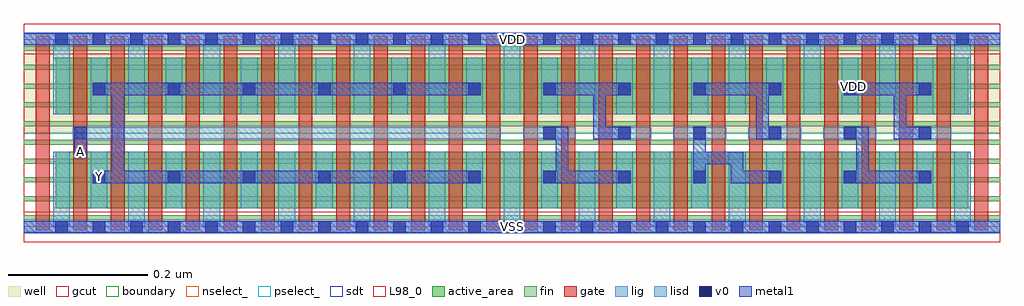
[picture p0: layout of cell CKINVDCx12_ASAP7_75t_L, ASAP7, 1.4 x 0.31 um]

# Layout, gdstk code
import gdstk
lib = gdstk.Library(unit=1e-6, precision=2.5e-10)
def R(c, l, rs):  # rectangles x0, y0, x1, y1
    for r in rs: c.add(gdstk.rectangle(r[:2], r[2:], *l))
def A(c, l, x, y, w, h, nx, ny, dx, dy):  # array of equal rectangles
    R(c, l, [(x+i*dx, y+j*dy, x+i*dx+w, y+j*dy+h) for i in range(nx) for j in range(ny)])
def P(c, l, *ps):  # polygons
    for p in ps: c.add(gdstk.Polygon(p, *l))
well = (1, 0)
fin = (2, 0)
gate = (7, 0)
gcut = (10, 0)
active_area = (11, 0)
nselect_ = (12, 0)
pselect_ = (13, 0)
lig = (16, 0)
lisd = (17, 0)
v0 = (18, 0)
metal1 = (19, 0)
sdt = (88, 0)
L98_0 = (98, 0)
boundary = (100, 0)

ckinvdcx12_asap7_75t_l = lib.new_cell('CKINVDCx12_ASAP7_75t_L')
R(ckinvdcx12_asap7_75t_l, well, [(0,0.135,1.404,0.27)])
A(ckinvdcx12_asap7_75t_l, fin, 0, 0.01, 1.404, 0.007, 1, 10, 0, 0.027)
A(ckinvdcx12_asap7_75t_l, gate, 0.017, -0.005, 0.02, 0.28, 26, 1, 0.054, 0)
R(ckinvdcx12_asap7_75t_l, gcut, [(0,-0.022,1.404,0.022), (0,0.248,1.404,0.292)])
R(ckinvdcx12_asap7_75t_l, active_area, [(0.046,0.027,1.358,0.108), (0.046,0.162,1.358,0.243)])
R(ckinvdcx12_asap7_75t_l, nselect_, [(0,0,1.404,0.135)])
R(ckinvdcx12_asap7_75t_l, pselect_, [(0,0.135,1.404,0.27)])
A(ckinvdcx12_asap7_75t_l, lig, 0.718, 0.127, 0.076, 0.016, 6, 1, 0.108, 0)
R(ckinvdcx12_asap7_75t_l, lig, [(0,-0.008,1.404,0.008), (0.07,0.127,0.686,0.143), (0,0.262,1.404,0.278)])
A(ckinvdcx12_asap7_75t_l, lisd, 0.042, 0, 0.024, 0.108, 13, 2, 0.108, 0.162)
A(ckinvdcx12_asap7_75t_l, lisd, 0.096, 0.027, 0.024, 0.081, 12, 2, 0.108, 0.135)
A(ckinvdcx12_asap7_75t_l, v0, 0.045, -0.009, 0.018, 0.018, 25, 2, 0.054, 0.27)
A(ckinvdcx12_asap7_75t_l, v0, 0.099, 0.063, 0.018, 0.018, 12, 2, 0.108, 0.126)
A(ckinvdcx12_asap7_75t_l, v0, 0.747, 0.126, 0.018, 0.018, 6, 1, 0.108, 0)
R(ckinvdcx12_asap7_75t_l, v0, [(0.072,0.126,0.09,0.144)])
R(ckinvdcx12_asap7_75t_l, metal1, [(0,-0.009,1.404,0.009), (0.072,0.099,0.09,0.144), (0,0.261,1.404,0.279)])
P(ckinvdcx12_asap7_75t_l, metal1, [(1.305,0.081),(1.215,0.081),(1.215,0.144),(1.179,0.144),(1.179,0.126),(1.197,0.126),(1.197,0.081),(1.179,0.081),(1.179,0.063),(1.305,0.063)],
  [(0.981,0.09),(1.017,0.09),(1.017,0.063),(1.089,0.063),(1.089,0.081),(1.035,0.081),(1.035,0.108),(0.981,0.108),(0.981,0.144),(0.963,0.144),(0.963,0.063),(0.981,0.063)],
  [(0.873,0.081),(0.783,0.081),(0.783,0.144),(0.747,0.144),(0.747,0.126),(0.765,0.126),(0.765,0.081),(0.747,0.081),(0.747,0.063),(0.873,0.063)],
  [(1.305,0.207),(1.179,0.207),(1.179,0.189),(1.251,0.189),(1.251,0.126),(1.305,0.126),(1.305,0.144),(1.269,0.144),(1.269,0.189),(1.305,0.189)],
  [(1.089,0.144),(1.071,0.144),(1.071,0.189),(1.089,0.189),(1.089,0.207),(0.963,0.207),(0.963,0.189),(1.053,0.189),(1.053,0.126),(1.089,0.126)],
  [(0.873,0.144),(0.837,0.144),(0.837,0.189),(0.873,0.189),(0.873,0.207),(0.747,0.207),(0.747,0.189),(0.819,0.189),(0.819,0.126),(0.873,0.126)],
  [(0.657,0.081),(0.144,0.081),(0.144,0.189),(0.657,0.189),(0.657,0.207),(0.099,0.207),(0.099,0.189),(0.126,0.189),(0.126,0.081),(0.099,0.081),(0.099,0.063),(0.657,0.063)])
A(ckinvdcx12_asap7_75t_l, sdt, 0.042, 0.027, 0.024, 0.081, 25, 2, 0.054, 0.135)
R(ckinvdcx12_asap7_75t_l, L98_0, [(0,0,1.404,0.27)])
R(ckinvdcx12_asap7_75t_l, boundary, [(0,0,1.404,0.27)])
ckinvdcx12_asap7_75t_l.add(gdstk.Label('Y', (0.108,0.072), layer=19, texttype=251))
ckinvdcx12_asap7_75t_l.add(gdstk.Label('A', (0.081,0.108), layer=19, texttype=251))
ckinvdcx12_asap7_75t_l.add(gdstk.Label('VSS', (0.702,0), layer=19, texttype=251))
ckinvdcx12_asap7_75t_l.add(gdstk.Label('VDD', (0.702,0.27), layer=19, texttype=251))
ckinvdcx12_asap7_75t_l.add(gdstk.Label('VDD', (1.1935,0.2025), layer=1, texttype=251))
ckinvdcx12_asap7_75t_l.add(gdstk.Label('VSS', (1.6145,0.2025), layer=3, texttype=251))

lib.write_gds('CKINVDCx12_ASAP7_75t_L.gds')
